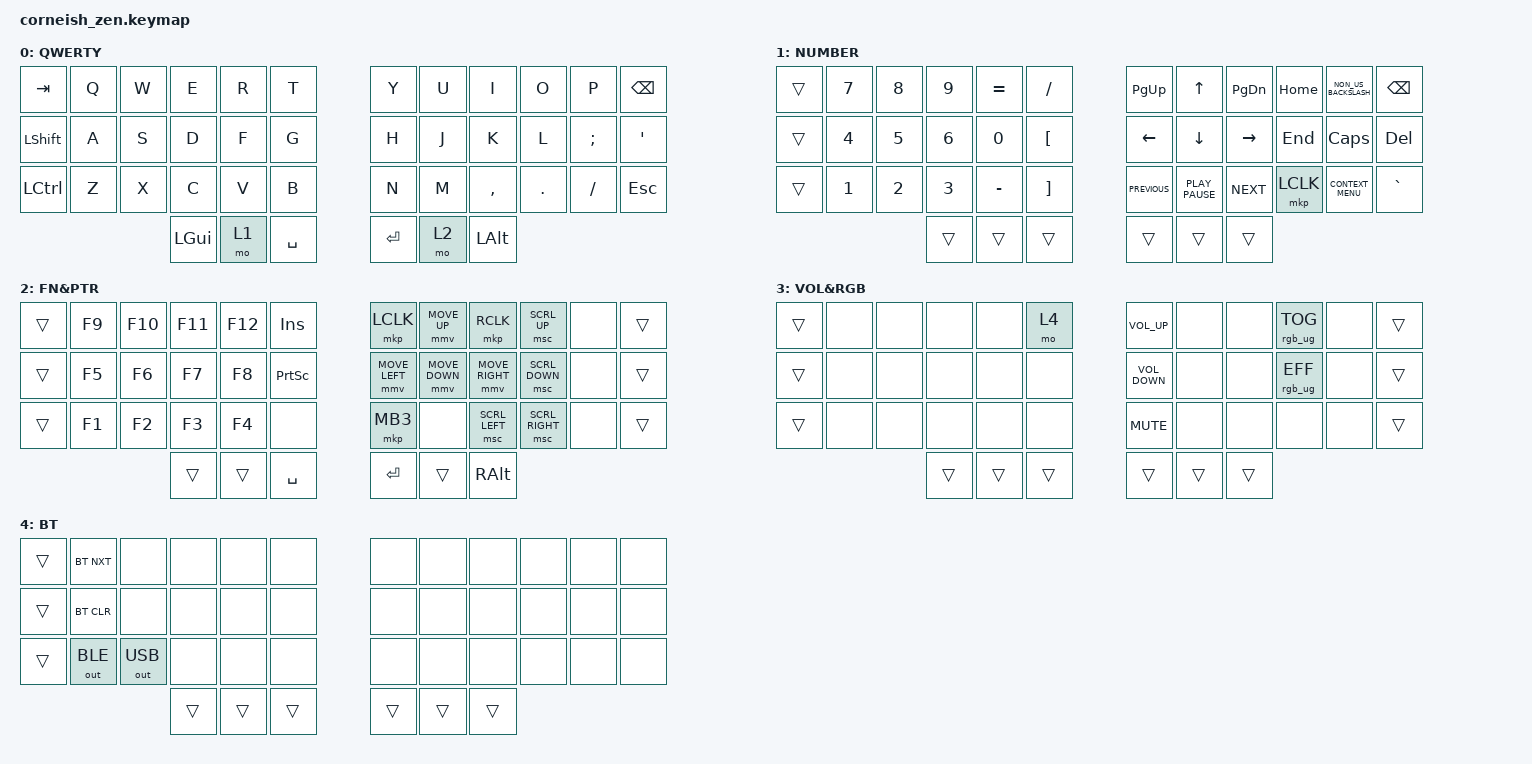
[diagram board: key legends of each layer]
/*
 * Copyright (c) 2020 The ZMK Contributors
 *
 * SPDX-License-Identifier: MIT
 */

#include <behaviors.dtsi>
#include <dt-bindings/zmk/bt.h>
#include <dt-bindings/zmk/keys.h>
#include <dt-bindings/zmk/outputs.h>
#include <dt-bindings/zmk/pointing.h>
#include <dt-bindings/zmk/rgb.h>

/ {
    chosen {
        zmk,matrix_transform = &default_transform;

        // zmk,matrix_transform = &five_column_transform;
    };
};

/ {
    keymap {
        compatible = "zmk,keymap";

        default_layer {
            display-name = "QWERTY";

            // --------------------------------------------------------------------------------
            // |  TAB |  Q  |  W  |  E  |  R  |  T  |   |  Y  |  U   |  I  |  O  |  P  | BKSP |
            // | SHFT |  A  |  S  |  D  |  F  |  G  |   |  H  |  J   |  K  |  L  |  ;  |  '   | 
            // | CTRL |  Z  |  X  |  C  |  V  |  B  |   |  N  |  M   |  ,  |  .  |  /  | ESC  |
            //                    | GUI | LWR | SPC |   | ENT | RSE  | ALT |

            bindings = <
&kp TAB         &kp Q  &kp W  &kp E     &kp R  &kp T        &kp Y      &kp U  &kp I      &kp O    &kp P     &kp BSPC
&kp LEFT_SHIFT  &kp A  &kp S  &kp D     &kp F  &kp G        &kp H      &kp J  &kp K      &kp L    &kp SEMI  &kp SQT
&kp LCTRL       &kp Z  &kp X  &kp C     &kp V  &kp B        &kp N      &kp M  &kp COMMA  &kp DOT  &kp FSLH  &kp ESC
                              &kp LGUI  &mo 1  &kp SPACE    &kp ENTER  &mo 2  &kp LALT
            >;
        };

        lower_layer {
            display-name = "NUMBER";

            // ---------------------------------------------------------------------------
            // | TAB  | 7 | 8 | 9 | = | / |   | PG_UP|  UP | PG_DOWN | HOME |  \   | BKSP|
            // | SHFT | 4 | 5 | 6 | 0 | [ |   | LFT  | DWN |  RIGHT  | END  | CAPS | DEL |
            // | CTRL | 1 | 2 | 3 | - | ] |   | PREV | P_P |  NEXT   | LCLK | MENU |  `  |
            //          | GUI | LWR | SPC |   | ENT | RSE | ALT |

            bindings = <
&trans  &kp N7        &kp N8        &kp N9        &kp EQUAL  &kp SLASH            &kp PG_UP       &kp UP_ARROW      &kp PAGE_DOWN  &kp HOME   &kp NON_US_BACKSLASH  &kp BSPC
&trans  &kp NUMBER_4  &kp N5        &kp NUMBER_6  &kp N0     &kp LEFT_BRACKET     &kp LEFT        &kp DOWN          &kp RIGHT      &kp END    &kp CAPS              &kp DEL
&trans  &kp NUMBER_1  &kp NUMBER_2  &kp NUMBER_3  &kp MINUS  &kp RIGHT_BRACKET    &kp C_PREVIOUS  &kp K_PLAY_PAUSE  &kp C_NEXT     &mkp LCLK  &kp K_CONTEXT_MENU    &kp GRAVE
                                    &trans        &trans     &trans               &trans          &trans            &trans
            >;
        };

        raise_layer {
            display-name = "FN&PTR";

            // ---------------------------------------------------------------------------
            // |  TAB  | F9 | F10 | F11 | F12 | INS  |    |lck |mup |rck |sup |  | BKSPC |
            // | SHIFT | F5 | F6  | F7  | F8  | PRSC |    |mlf |mdn |mrt |sdn |  |   '   |
            // | CTRL  | F1 | F2  | F3  | F4  |      |    |    |    |slf |srt |  |  ESC  |
            //                        |LGUI|LWE|SPACE|    |ENTER|RSE|RALT|

            bindings = <
&trans  &kp F9  &kp F10  &kp F11  &kp F12  &kp INS            &mkp LCLK       &mmv MOVE_UP    &mkp RCLK        &msc SCRL_UP     &none  &trans
&trans  &kp F5  &kp F6   &kp F7   &kp F8   &kp PRINTSCREEN    &mmv MOVE_LEFT  &mmv MOVE_DOWN  &mmv MOVE_RIGHT  &msc SCRL_DOWN   &none  &trans
&trans  &kp F1  &kp F2   &kp F3   &kp F4   &none              &mkp MB3        &none           &msc SCRL_LEFT   &msc SCRL_RIGHT  &none  &trans
                         &trans   &trans   &kp SPACE          &kp RET         &trans          &kp RALT
            >;
        };

        layer_3 {
            display-name = "VOL&RGB";

            // -----------------------------------------------------------------------------
            // |  TAB  | | | | | layer 4 toggle |    | C_VOLUME_UP | | | BL_TOG  | | BKSPC |
            // | SHIFT | | | | |              |    | C_VOLUME_DOWN | | | RGB_EFF | |   '   |
            // | CTRL  | | | | |              |    | C_MUTE| | |         | |  ESC  |
            //        |LGUI|LWE|    SPACE     |    |ENTER|RSE|LALT|

            bindings = <
&trans  &none     &none   &none   &none   &mo 4     &kp C_VOLUME_UP    &none   &none   &rgb_ug RGB_TOG  &none  &trans
&trans  &none     &none   &none   &none   &none     &kp C_VOLUME_DOWN  &none   &none   &rgb_ug RGB_EFF  &none  &trans
&trans  &none     &none   &none   &none   &none     &kp C_MUTE         &none   &none   &none            &none  &trans
                          &trans  &trans  &trans    &trans             &trans  &trans
            >;
        };
                layer_4 {
            // -------------------------------------------------------
            // |  TAB  |  BT_NXT   |     | | | |   | | | | | | BKSPC |
            // | SHIFT | BT_CLR_ALL|     | | | |   | | | | | |   '   |
            // | CTRL  | BT_OUT    | USB | | | |   | | | | | |  ESC  |
            //                  |LGUI|LWE|SPACE|   |ENTER|RSE|LALT|

            display-name = "BT";
            bindings = <
        &trans  &bt BT_NXT   &none         &none   &none   &none     &none   &none   &none   &none  &none  &none
        &trans  &bt BT_CLR   &none         &none   &none   &none     &none   &none   &none   &none  &none  &none
        &trans  &out OUT_BLE &out OUT_USB  &none   &none   &none     &none   &none   &none   &none  &none  &none
                                &trans  &trans   &trans    &trans  &trans  &trans
            >;
        };
    };

    conditional_layers {
        compatible = "zmk,conditional-layers";

        layer {
            if-layers = <1 2>;  // active when BOTH mo 1 AND mo 2 are held simultaneously
            then-layer = <3>;
        };
    };
};
